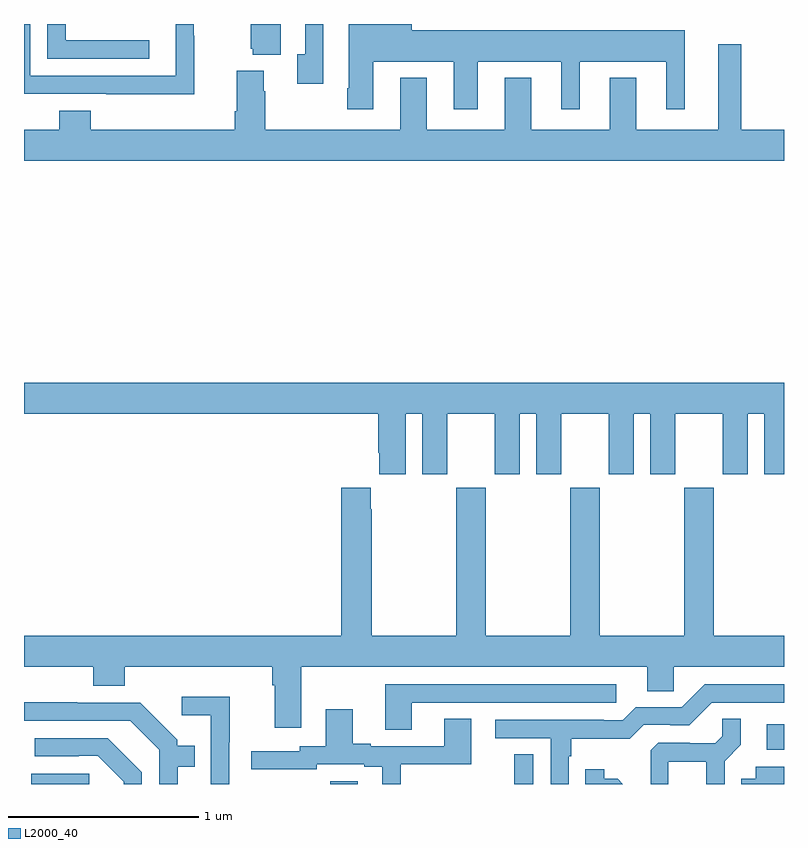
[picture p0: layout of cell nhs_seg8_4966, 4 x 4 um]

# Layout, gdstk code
import gdstk
lib = gdstk.Library(unit=1e-6, precision=1e-09)
def R(c, l, rs):  # rectangles x0, y0, x1, y1
    for r in rs: c.add(gdstk.rectangle(r[:2], r[2:], *l))
def P(c, l, *ps):  # polygons
    for p in ps: c.add(gdstk.Polygon(p, *l))
L2000_40 = (2000, 40)

nhs_seg8_4966 = lib.new_cell('nhs_seg8_4966')
R(nhs_seg8_4966, L2000_40, [(411.038,1099.9,411.343,1099.953), (412.611,1099.9,412.756,1099.915), (413.581,1099.9,413.679,1100.057), (414.909,1100.079,415,1100.215)])
P(nhs_seg8_4966, L2000_40, [(412.837,1103.702),(413.261,1103.702),(413.261,1103.451),(413.389,1103.451),(413.389,1103.702),(413.828,1103.702),(413.828,1103.451),(413.926,1103.451),(413.926,1103.702),(414.38,1103.702),(414.38,1103.451),(414.478,1103.451),(414.478,1103.866),(413.041,1103.866),(413.041,1103.9),(412.709,1103.9),(412.709,1103.563),(412.702,1103.563),(412.702,1103.451),(412.837,1103.451)],
  [(411.897,1103.837),(411.894,1103.837),(411.894,1103.9),(411.798,1103.9),(411.798,1103.628),(411.033,1103.628),(411.033,1103.9),(411,1103.9),(411,1103.532),(411.433,1103.532),(411.433,1103.531),(411.897,1103.531)],
  [(412.576,1103.9),(412.479,1103.9),(412.479,1103.742),(412.439,1103.742),(412.439,1103.586),(412.576,1103.586)],
  [(412.351,1103.9),(412.193,1103.9),(412.193,1103.769),(412.205,1103.769),(412.205,1103.738),(412.351,1103.738)],
  [(411.658,1103.814),(411.219,1103.814),(411.219,1103.9),(411.123,1103.9),(411.123,1103.718),(411.658,1103.718)],
  [(415,1103.344),(414.775,1103.344),(414.775,1103.794),(414.653,1103.794),(414.653,1103.344),(414.223,1103.344),(414.223,1103.617),(414.083,1103.617),(414.083,1103.344),(413.671,1103.344),(413.671,1103.617),(413.531,1103.617),(413.531,1103.344),(413.119,1103.344),(413.119,1103.617),(412.979,1103.617),(412.979,1103.344),(412.269,1103.344),(412.269,1103.546),(412.261,1103.546),(412.261,1103.653),(412.121,1103.653),(412.121,1103.44),(412.109,1103.44),(412.109,1103.344),(411.35,1103.344),(411.35,1103.443),(411.185,1103.443),(411.185,1103.344),(411,1103.344),(411,1103.18),(415,1103.18)],
  [(413.008,1101.848),(413.096,1101.848),(413.096,1101.531),(413.227,1101.531),(413.227,1101.848),(413.477,1101.848),(413.477,1101.531),(413.608,1101.531),(413.608,1101.848),(413.696,1101.848),(413.696,1101.531),(413.827,1101.531),(413.827,1101.848),(414.077,1101.848),(414.077,1101.531),(414.208,1101.531),(414.208,1101.848),(414.296,1101.848),(414.296,1101.531),(414.427,1101.531),(414.427,1101.848),(414.677,1101.848),(414.677,1101.531),(414.808,1101.531),(414.808,1101.848),(414.896,1101.848),(414.896,1101.531),(415,1101.531),(415,1102.012),(411,1102.012),(411,1101.848),(412.865,1101.848),(412.865,1101.643),(412.871,1101.643),(412.871,1101.531),(413.008,1101.531)],
  [(412.459,1100.516),(414.281,1100.516),(414.281,1100.389),(414.42,1100.389),(414.42,1100.516),(415,1100.516),(415,1100.68),(414.63,1100.68),(414.63,1101.46),(414.475,1101.46),(414.475,1100.68),(414.03,1100.68),(414.03,1101.46),(413.875,1101.46),(413.875,1100.68),(413.43,1100.68),(413.43,1101.46),(413.275,1101.46),(413.275,1100.68),(412.83,1100.68),(412.83,1101.347),(412.825,1101.347),(412.825,1101.46),(412.67,1101.46),(412.67,1100.68),(411,1100.68),(411,1100.516),(411.365,1100.516),(411.365,1100.417),(411.53,1100.417),(411.53,1100.516),(412.307,1100.516),(412.307,1100.42),(412.319,1100.42),(412.319,1100.196),(412.459,1100.196)],
  [(413.868,1100.045),(413.881,1100.045),(413.881,1100.138),(414.188,1100.138),(414.261,1100.211),(414.4,1100.211),(414.4,1100.208),(414.501,1100.208),(414.621,1100.328),(415,1100.328),(415,1100.424),(414.582,1100.424),(414.462,1100.304),(414.219,1100.304),(414.15,1100.235),(414.05,1100.235),(414.05,1100.238),(413.481,1100.238),(413.481,1100.142),(413.772,1100.142),(413.772,1099.9),(413.868,1099.9)],
  [(413.041,1100.328),(414.118,1100.328),(414.118,1100.424),(412.901,1100.424),(412.901,1100.185),(413.041,1100.185)],
  [(412.08,1100.12),(412.083,1100.12),(412.083,1100.359),(411.831,1100.359),(411.831,1100.261),(411.984,1100.261),(411.984,1099.9),(412.08,1099.9)],
  [(411.808,1099.992),(411.899,1099.992),(411.899,1100.101),(411.807,1100.101),(411.807,1100.133),(411.612,1100.328),(411.281,1100.328),(411.281,1100.33),(411,1100.33),(411,1100.232),(411.558,1100.232),(411.711,1100.079),(411.711,1099.9),(411.808,1099.9)],
  [(412.983,1100.004),(413.353,1100.004),(413.353,1100.243),(413.213,1100.243),(413.213,1100.1),(412.825,1100.1),(412.825,1100.113),(412.729,1100.113),(412.729,1100.293),(412.589,1100.293),(412.589,1100.1),(412.452,1100.1),(412.452,1100.073),(412.197,1100.073),(412.197,1099.977),(412.542,1099.977),(412.542,1100.004),(412.79,1100.004),(412.79,1099.992),(412.886,1099.992),(412.886,1099.9),(412.983,1099.9)],
  [(414.392,1100.018),(414.59,1100.018),(414.59,1099.9),(414.687,1099.9),(414.687,1100.021),(414.773,1100.107),(414.773,1100.243),(414.675,1100.243),(414.675,1100.152),(414.638,1100.115),(414.504,1100.115),(414.504,1100.118),(414.339,1100.118),(414.298,1100.077),(414.298,1099.9),(414.392,1099.9)],
  [(411.621,1099.963),(411.442,1100.142),(411.057,1100.142),(411.057,1100.046),(411.287,1100.046),(411.287,1100.049),(411.387,1100.049),(411.524,1099.912),(411.524,1099.9),(411.621,1099.9)],
  [(415,1099.99),(414.851,1099.99),(414.851,1099.927),(414.776,1099.927),(414.776,1099.9),(415,1099.9)],
  [(414.124,1099.928),(414.054,1099.928),(414.054,1099.978),(413.953,1099.978),(413.953,1099.9),(414.152,1099.9)])

lib.write_gds('nhs_seg8_4966.gds')
